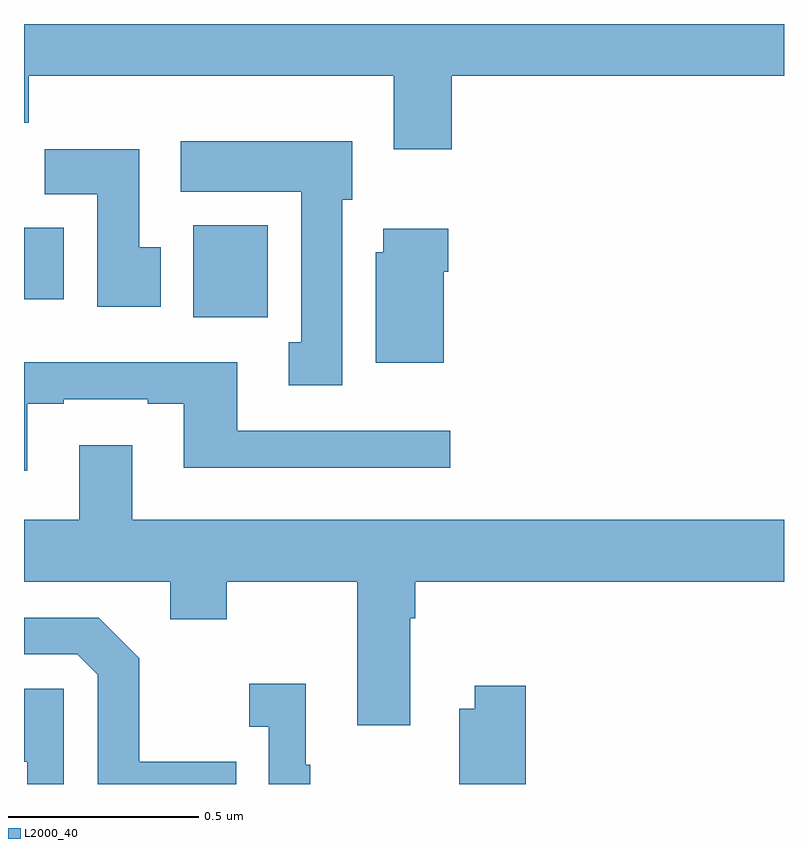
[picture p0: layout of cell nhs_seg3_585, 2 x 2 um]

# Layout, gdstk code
import gdstk
lib = gdstk.Library(unit=1e-6, precision=1e-09)
def R(c, l, rs):  # rectangles x0, y0, x1, y1
    for r in rs: c.add(gdstk.rectangle(r[:2], r[2:], *l))
def P(c, l, *ps):  # polygons
    for p in ps: c.add(gdstk.Polygon(p, *l))
L2000_40 = (2000, 40)

nhs_seg3_585 = lib.new_cell('nhs_seg3_585')
R(nhs_seg3_585, L2000_40, [(118.445,685.628,118.642,685.87), (118,685.676,118.105,685.864)])
P(nhs_seg3_585, L2000_40, [(119.126,686.264),(120,686.264),(120,686.4),(118,686.4),(118,686.14),(118.013,686.14),(118.013,686.264),(118.973,686.264),(118.973,686.07),(119.126,686.07)],
  [(118.837,685.938),(118.864,685.938),(118.864,686.092),(118.413,686.092),(118.413,685.958),(118.73,685.958),(118.73,685.562),(118.697,685.562),(118.697,685.449),(118.837,685.449)],
  [(118.36,685.812),(118.303,685.812),(118.303,686.071),(118.054,686.071),(118.054,685.952),(118.193,685.952),(118.193,685.656),(118.36,685.656)],
  [(119.104,685.748),(119.117,685.748),(119.117,685.861),(118.946,685.861),(118.946,685.8),(118.925,685.8),(118.925,685.508),(119.104,685.508)],
  [(118.009,685.401),(118.105,685.401),(118.105,685.413),(118.325,685.413),(118.325,685.401),(118.421,685.401),(118.421,685.232),(119.122,685.232),(119.122,685.329),(118.561,685.329),(118.561,685.51),(118,685.51),(118,685.224),(118.009,685.224)],
  [(119.017,684.836),(119.03,684.836),(119.03,684.932),(120,684.932),(120,685.096),(118.285,685.096),(118.285,685.291),(118.145,685.291),(118.145,685.096),(118,685.096),(118,684.932),(118.385,684.932),(118.385,684.833),(118.533,684.833),(118.533,684.932),(118.877,684.932),(118.877,684.555),(119.017,684.555)],
  [(118.559,684.459),(118.303,684.459),(118.303,684.731),(118.197,684.837),(118,684.837),(118,684.741),(118.14,684.741),(118.194,684.687),(118.194,684.4),(118.559,684.4)],
  [(118.753,684.451),(118.741,684.451),(118.741,684.664),(118.593,684.664),(118.593,684.551),(118.644,684.551),(118.644,684.4),(118.753,684.4)],
  [(119.321,684.658),(119.186,684.658),(119.186,684.598),(119.146,684.598),(119.146,684.4),(119.321,684.4)],
  [(118.104,684.651),(118,684.651),(118,684.458),(118.008,684.458),(118.008,684.4),(118.104,684.4)])

lib.write_gds('nhs_seg3_585.gds')
